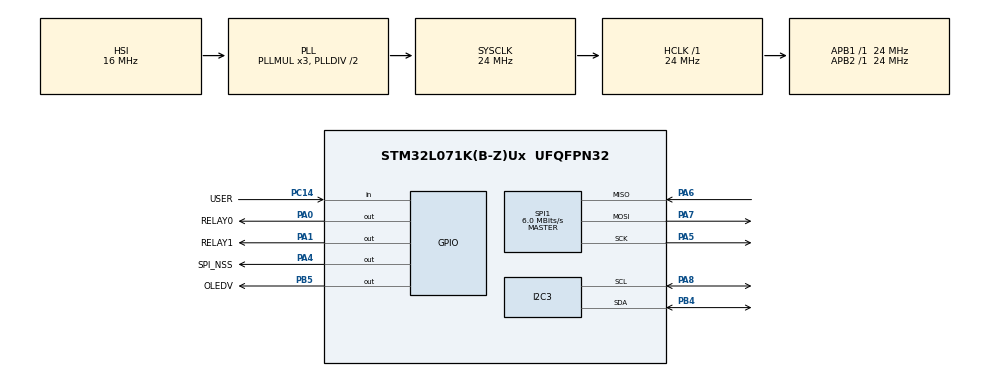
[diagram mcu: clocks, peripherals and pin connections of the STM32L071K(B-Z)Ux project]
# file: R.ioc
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I2C3.Timing=0x00506682
Mcu.Family=STM32L0
Mcu.Name=STM32L071K(B-Z)Ux
Mcu.Package=UFQFPN32
PA0.GPIO_Label=RELAY0
PA0.Signal=GPIO_Output
PA1.GPIO_Label=RELAY1
PA1.Signal=GPIO_Output
PA13.Mode=Serial_Wire
PA13.Signal=SYS_SWDIO
PA14.Mode=Serial_Wire
PA14.Signal=SYS_SWCLK
PA4.GPIO_Label=SPI_NSS
PA4.Signal=GPIO_Output
PA5.Mode=Full_Duplex_Master
PA5.Signal=SPI1_SCK
PA6.Mode=Full_Duplex_Master
PA6.Signal=SPI1_MISO
PA7.Mode=Full_Duplex_Master
PA7.Signal=SPI1_MOSI
PA8.Mode=I2C
PA8.Signal=I2C3_SCL
PB4.Mode=I2C
PB4.Signal=I2C3_SDA
PB5.GPIO_Label=OLEDV
PB5.Signal=GPIO_Output
PC14-OSC32_IN.GPIO_Label=USER
PC14-OSC32_IN.GPIO_PuPd=GPIO_PULLUP
PC14-OSC32_IN.Signal=GPIO_Input
ProjectManager.HeapSize=0x200
ProjectManager.StackSize=0x400
ProjectManager.TargetToolchain=MDK-ARM V5.27
RCC.AHBFreq_Value=24000000
RCC.APB1Freq_Value=24000000
RCC.APB1TimFreq_Value=24000000
RCC.APB2Freq_Value=24000000
RCC.APB2TimFreq_Value=24000000
RCC.HCLKFreq_Value=24000000
RCC.HSI16_VALUE=16000000
RCC.HSI_VALUE=16000000
RCC.LSE_VALUE=32768
RCC.MSI_VALUE=2097000
RCC.SYSCLKFreq_VALUE=24000000
RCC.SYSCLKSource=RCC_SYSCLKSOURCE_PLLCLK
RCC.VCOOutputFreq_Value=48000000
SPI1.BaudRatePrescaler=SPI_BAUDRATEPRESCALER_4
SPI1.CalculateBaudRate=6.0 MBits/s
SPI1.Direction=SPI_DIRECTION_2LINES
SPI1.Mode=SPI_MODE_MASTER
SPI1.VirtualType=VM_MASTER
board=custom

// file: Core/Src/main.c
/* USER CODE BEGIN Header */
/**
  ******************************************************************************
  * @file           : main.c
  * @brief          : Main program body
  ******************************************************************************
  * @attention
  *
  * <h2><center>&copy; Copyright (c) 2021 STMicroelectronics.
  * All rights reserved.</center></h2>
  *
  * This software component is licensed by ST under BSD 3-Clause license,
  * the "License"; You may not use this file except in compliance with the
  * License. You may obtain a copy of the License at:
  *                        opensource.org/licenses/BSD-3-Clause
  *
  ******************************************************************************
  */
/* USER CODE END Header */
#include "main.h"

/* USER CODE BEGIN Includes */
#include "stdio.h"
#include "string.h"
#include "oled.h"
#include "sx127x_lora.h"
#include "user.h"
/* USER CODE END Includes */

/* USER CODE BEGIN PD */
extern uint8_t g_OLED_Flag;//stm32l0xx_it.c的变量，置位时OLED每隔100ms重新刷新
extern uint8_t g_Radio_Recv_Flag;//stm32l0xx_it.c的变量，置位时，Radio每隔200ms重新接收数据
extern uint8_t keyVal_o;//stm32l0xx_it.c的变量，存放按键值 1:发送指令 0：不发送指令

radio_handle_t handle; //句柄，存放zm4xx驱动函数
/* USER CODE END PD */

I2C_HandleTypeDef hi2c3;

SPI_HandleTypeDef hspi1;

void SystemClock_Config(void);
static void MX_GPIO_Init(void);
static void MX_I2C3_Init(void);
static void MX_SPI1_Init(void);

int main(void)
{
  /* USER CODE BEGIN 1 */
  uint8_t oled_renew = 0;//oled更新，1 : K1-LED:ON,K2-LED:OFF;
                         //          2 : K1-LED:OFF,K2-LED:ON;
                         //          3 : K1-LED:OFF,K2-LED:OFF.
  /* USER CODE END 1 */

  /* MCU Configuration--------------------------------------------------------*/

  /* Reset of all peripherals, Initializes the Flash interface and the Systick. */
  HAL_Init();

  /* Configure the system clock */
  SystemClock_Config();

  /* Initialize all configured peripherals */
  MX_GPIO_Init();
  MX_I2C3_Init();
  MX_SPI1_Init();
  /* USER CODE BEGIN 2 */
  OLED_PowerControl(ENABLE);//oled使能

  HAL_Delay(200);
  OLED_Init();
  OLED_Clear();

  OLED_ShowString(0, 0, (unsigned char *)"K1-LED:OFF", 16);
  OLED_ShowString(0, 2, (unsigned char *)"K2-LED:OFF", 16);
  HAL_GPIO_WritePin(GPIOC, GPIO_PIN_15, GPIO_PIN_SET);
  HAL_GPIO_WritePin(GPIOA, GPIO_PIN_0, GPIO_PIN_RESET);
  HAL_GPIO_WritePin(GPIOA, GPIO_PIN_1, GPIO_PIN_RESET);
  handle = radio_zm4xx_inst_init();//初始化通信zm4xx
  if (handle != NULL)
    {
       radio_mode_set(handle, RX_MODE);//进入接收模式
    }//lora初始化完成
  /* USER CODE END 2 */

  /* Infinite loop */
  while (1)
  {

    /* USER CODE BEGIN 3 */
   if(keyVal_o == 0)
   {
       keyVal_o = 1;
       Task_Send(handle);
   }
   if (g_OLED_Flag == 1)
    {
        g_OLED_Flag = 0;
        if(oled_renew == 1)
        {
         OLED_ShowString(0, 0, (unsigned char *)"K1-LED:ON ", 16);
         OLED_ShowString(0, 2, (unsigned char *)"K2-LED:OFF", 16);
        }
        if(oled_renew == 2)
        {
         OLED_ShowString(0, 0, (unsigned char *)"K1-LED:OFF", 16);
         OLED_ShowString(0, 2, (unsigned char *)"K2-LED:ON ", 16);
        }
       if(oled_renew == 3)
        {
         OLED_ShowString(0, 0, (unsigned char *)"K1-LED:OFF", 16);
         OLED_ShowString(0, 2, (unsigned char *)"K2-LED:OFF", 16);
        }
       oled_renew = 0;
    }
    if (g_Radio_Recv_Flag == 1)
    {
        g_Radio_Recv_Flag = 0;
        oled_renew = Task_Recv(handle);
    }
  }
  /* USER CODE END 3 */
}

void SystemClock_Config(void)
{
  RCC_OscInitTypeDef RCC_OscInitStruct = {0};
  RCC_ClkInitTypeDef RCC_ClkInitStruct = {0};
  RCC_PeriphCLKInitTypeDef PeriphClkInit = {0};

  /** Configure the main internal regulator output voltage
  */
  __HAL_PWR_VOLTAGESCALING_CONFIG(PWR_REGULATOR_VOLTAGE_SCALE1);
  /** Initializes the RCC Oscillators according to the specified parameters
  * in the RCC_OscInitTypeDef structure.
  */
  RCC_OscInitStruct.OscillatorType = RCC_OSCILLATORTYPE_HSI;
  RCC_OscInitStruct.HSIState = RCC_HSI_ON;
  RCC_OscInitStruct.HSICalibrationValue = RCC_HSICALIBRATION_DEFAULT;
  RCC_OscInitStruct.PLL.PLLState = RCC_PLL_ON;
  RCC_OscInitStruct.PLL.PLLSource = RCC_PLLSOURCE_HSI;
  RCC_OscInitStruct.PLL.PLLMUL = RCC_PLLMUL_3;
  RCC_OscInitStruct.PLL.PLLDIV = RCC_PLLDIV_2;
  if (HAL_RCC_OscConfig(&RCC_OscInitStruct) != HAL_OK)
  {
    Error_Handler();
  }
  /** Initializes the CPU, AHB and APB buses clocks
  */
  RCC_ClkInitStruct.ClockType = RCC_CLOCKTYPE_HCLK|RCC_CLOCKTYPE_SYSCLK
                              |RCC_CLOCKTYPE_PCLK1|RCC_CLOCKTYPE_PCLK2;
  RCC_ClkInitStruct.SYSCLKSource = RCC_SYSCLKSOURCE_PLLCLK;
  RCC_ClkInitStruct.AHBCLKDivider = RCC_SYSCLK_DIV1;
  RCC_ClkInitStruct.APB1CLKDivider = RCC_HCLK_DIV1;
  RCC_ClkInitStruct.APB2CLKDivider = RCC_HCLK_DIV1;

  if (HAL_RCC_ClockConfig(&RCC_ClkInitStruct, FLASH_LATENCY_1) != HAL_OK)
  {
    Error_Handler();
  }
  PeriphClkInit.PeriphClockSelection = RCC_PERIPHCLK_I2C3;
  PeriphClkInit.I2c3ClockSelection = RCC_I2C3CLKSOURCE_PCLK1;
  if (HAL_RCCEx_PeriphCLKConfig(&PeriphClkInit) != HAL_OK)
  {
    Error_Handler();
  }
}

static void MX_I2C3_Init(void)
{

  hi2c3.Instance = I2C3;
  hi2c3.Init.Timing = 0x00506682;
  hi2c3.Init.OwnAddress1 = 0;
  hi2c3.Init.AddressingMode = I2C_ADDRESSINGMODE_7BIT;
  hi2c3.Init.DualAddressMode = I2C_DUALADDRESS_DISABLE;
  hi2c3.Init.OwnAddress2 = 0;
  hi2c3.Init.OwnAddress2Masks = I2C_OA2_NOMASK;
  hi2c3.Init.GeneralCallMode = I2C_GENERALCALL_DISABLE;
  hi2c3.Init.NoStretchMode = I2C_NOSTRETCH_DISABLE;
  if (HAL_I2C_Init(&hi2c3) != HAL_OK)
  {
    Error_Handler();
  }
  /** Configure Analogue filter
  */
  if (HAL_I2CEx_ConfigAnalogFilter(&hi2c3, I2C_ANALOGFILTER_ENABLE) != HAL_OK)
  {
    Error_Handler();
  }
  /** Configure Digital filter
  */
  if (HAL_I2CEx_ConfigDigitalFilter(&hi2c3, 0) != HAL_OK)
  {
    Error_Handler();
  }

}

static void MX_SPI1_Init(void)
{

  /* SPI1 parameter configuration*/
  hspi1.Instance = SPI1;
  hspi1.Init.Mode = SPI_MODE_MASTER;
  hspi1.Init.Direction = SPI_DIRECTION_2LINES;
  hspi1.Init.DataSize = SPI_DATASIZE_8BIT;
  hspi1.Init.CLKPolarity = SPI_POLARITY_LOW;
  hspi1.Init.CLKPhase = SPI_PHASE_1EDGE;
  hspi1.Init.NSS = SPI_NSS_SOFT;
  hspi1.Init.BaudRatePrescaler = SPI_BAUDRATEPRESCALER_4;
  hspi1.Init.FirstBit = SPI_FIRSTBIT_MSB;
  hspi1.Init.TIMode = SPI_TIMODE_DISABLE;
  hspi1.Init.CRCCalculation = SPI_CRCCALCULATION_DISABLE;
  hspi1.Init.CRCPolynomial = 7;
  if (HAL_SPI_Init(&hspi1) != HAL_OK)
  {
    Error_Handler();
  }

}

static void MX_GPIO_Init(void)
{
  GPIO_InitTypeDef GPIO_InitStruct = {0};

  /* GPIO Ports Clock Enable */
  __HAL_RCC_GPIOC_CLK_ENABLE();
  __HAL_RCC_GPIOA_CLK_ENABLE();
  __HAL_RCC_GPIOB_CLK_ENABLE();

  /*Configure GPIO pin Output Level */
  HAL_GPIO_WritePin(GPIOA, RELAY0_Pin|RELAY1_Pin|SPI_NSS_Pin, GPIO_PIN_RESET);

  /*Configure GPIO pin Output Level */
  HAL_GPIO_WritePin(OLEDV_GPIO_Port, OLEDV_Pin, GPIO_PIN_RESET);

  /*Configure GPIO pin : USER_Pin */
  GPIO_InitStruct.Pin = USER_Pin;
  GPIO_InitStruct.Mode = GPIO_MODE_INPUT;
  GPIO_InitStruct.Pull = GPIO_NOPULL;
  HAL_GPIO_Init(USER_GPIO_Port, &GPIO_InitStruct);

  /*Configure GPIO pins : RELAY0_Pin RELAY1_Pin SPI_NSS_Pin */
  GPIO_InitStruct.Pin = RELAY0_Pin|RELAY1_Pin|SPI_NSS_Pin;
  GPIO_InitStruct.Mode = GPIO_MODE_OUTPUT_PP;
  GPIO_InitStruct.Pull = GPIO_NOPULL;
  GPIO_InitStruct.Speed = GPIO_SPEED_FREQ_LOW;
  HAL_GPIO_Init(GPIOA, &GPIO_InitStruct);

  /*Configure GPIO pin : OLEDV_Pin */
  GPIO_InitStruct.Pin = OLEDV_Pin;
  GPIO_InitStruct.Mode = GPIO_MODE_OUTPUT_PP;
  GPIO_InitStruct.Pull = GPIO_NOPULL;
  GPIO_InitStruct.Speed = GPIO_SPEED_FREQ_LOW;
  HAL_GPIO_Init(OLEDV_GPIO_Port, &GPIO_InitStruct);

}

void Error_Handler(void)
{
  __disable_irq();
  while (1)
  {
  }
}

/************************ (C) COPYRIGHT STMicroelectronics *****END OF FILE****/
